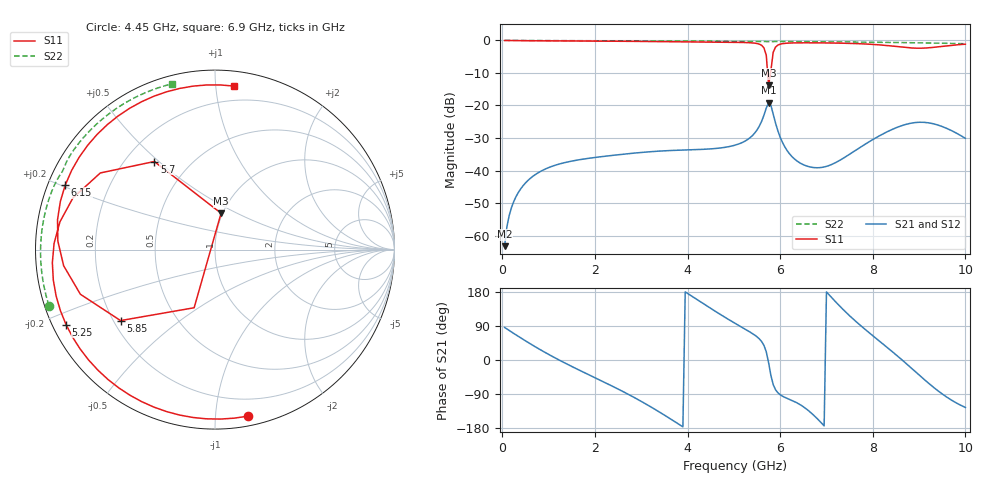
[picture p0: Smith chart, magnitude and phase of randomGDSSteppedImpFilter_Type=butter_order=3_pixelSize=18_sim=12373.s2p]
! freq	dB(S11)	phase(S11)	dB(S12)	phase(S12)
!  dB(S21)	phase(S21)	dB(S22)	phase(S22)
!S-par simulation data
#  GHz  S  DB  R 50
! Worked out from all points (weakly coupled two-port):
!   200 points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, 50 MHz to 10 GHz, reference 50 ohm
!   highest |S21| = -19.15 dB at 5.75 GHz (marker M1); lowest = -63.3 dB at 50 MHz (marker M2)
!   lowest |S11| = -13.8 dB at 5.75 GHz (marker M3), VSWR 1.52, Z = 49.2 + j20.8 ohm
!   |S11| at or under -10 dB: 5.73 GHz to 5.792 GHz (62.09 MHz wide, 1.08 % of centre)
!   |S22| runs from -1.0 to 0.0 dB; largest |S21 - S12| = 0
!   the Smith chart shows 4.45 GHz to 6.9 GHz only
!   S11 on the Smith chart (normalised r, x): 4.45 GHz: 0.07, -1.22; 5.25 GHz: 0.04, -0.24; 5.7 GHz: 0.32, +0.48; 5.85 GHz: 0.23, -0.32; 6.15 GHz: 0.05, +0.21; 6.9 GHz: 0.10, +1.12
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0.05  -0.00 -6.1  -63.25 85.9  -63.25 85.9  -0.00 -2.1
0.25  -0.04 -29.9  -49.44 69.9  -49.44 69.9  -0.01 -10.2
0.8  -0.11 -91.3  -40.47 28.6  -40.47 28.6  -0.04 -32.2
1.75  -0.18 179.3  -36.48 -32.0  -36.48 -32.0  -0.09 -68.7
2.65  -0.26 99.1  -34.92 -86.0  -34.92 -86.0  -0.12 -100.9
3.4  -0.36 25.6  -34.01 -137.8  -34.01 -137.8  -0.16 -126.4
3.85  -0.42 -20.1  -33.72 -172.5  -33.72 -172.5  -0.18 -141.4
4.45  -0.48 -78.8  -33.39 140.1  -33.39 140.1  -0.21 -161.3
5.05  -0.57 -134.1  -32.09 95.0  -32.09 95.0  -0.25 178.2
5.25  -0.64 -153.3  -30.88 80.9  -30.88 80.9  -0.27 171.1
5.55  -1.13 169.9  -26.35 55.8  -26.35 55.8  -0.30 160.1
5.7  -4.50 124.6  -20.80 21.7  -20.80 21.7  -0.36 154.5
5.75  -13.76 80.5  -19.15 -6.6  -19.15 -6.6  -0.40 152.9
5.85  -3.63 -143.1  -22.61 -64.8  -22.61 -64.8  -0.35 149.4
6.15  -0.83 156.7  -33.85 -101.2  -33.85 -101.2  -0.34 137.3
6.7  -0.73 102.3  -39.04 -142.9  -39.04 -142.9  -0.39 113.7
6.9  -0.75 83.4  -39.03 -167.3  -39.03 -167.3  -0.41 104.4
7.7  -1.00 2.9  -33.13 94.8  -33.13 94.8  -0.50 63.5
8.35  -1.62 -77.5  -27.81 29.3  -27.81 29.3  -0.60 25.8
9  -2.39 170.6  -25.16 -39.5  -25.16 -39.5  -0.73 -14.5
9.45  -1.89 89.2  -26.21 -85.2  -26.21 -85.2  -0.84 -42.5
10  -1.16 18.5  -30.11 -125.3  -30.11 -125.3  -1.01 -76.0
